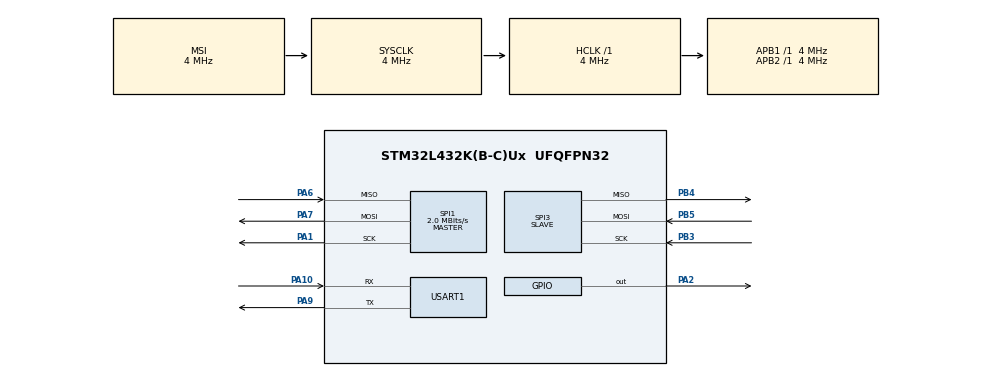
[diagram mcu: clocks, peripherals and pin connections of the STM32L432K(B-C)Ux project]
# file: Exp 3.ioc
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Mcu.Family=STM32L4
Mcu.Name=STM32L432K(B-C)Ux
Mcu.Package=UFQFPN32
NVIC.PriorityGroup=NVIC_PRIORITYGROUP_4
NVIC.SPI1_IRQn=true\:0\:0\:false\:false\:true\:true\:true
NVIC.SPI3_IRQn=true\:0\:0\:false\:false\:true\:true\:true
PA1.Mode=Full_Duplex_Master
PA1.Signal=SPI1_SCK
PA10.Mode=Asynchronous
PA10.Signal=USART1_RX
PA13\ (JTMS-SWDIO).Mode=Serial_Wire
PA13\ (JTMS-SWDIO).Signal=SYS_JTMS-SWDIO
PA14\ (JTCK-SWCLK).Mode=Serial_Wire
PA14\ (JTCK-SWCLK).Signal=SYS_JTCK-SWCLK
PA2.Signal=GPIO_Output
PA6.Mode=Full_Duplex_Master
PA6.Signal=SPI1_MISO
PA7.Mode=Full_Duplex_Master
PA7.Signal=SPI1_MOSI
PA9.Mode=Asynchronous
PA9.Signal=USART1_TX
PB3\ (JTDO-TRACESWO).Mode=Full_Duplex_Slave
PB3\ (JTDO-TRACESWO).Signal=SPI3_SCK
PB4\ (NJTRST).Mode=Full_Duplex_Slave
PB4\ (NJTRST).Signal=SPI3_MISO
PB5.Mode=Full_Duplex_Slave
PB5.Signal=SPI3_MOSI
PC14-OSC32_IN\ (PC14).Mode=LSE-External-Oscillator
PC14-OSC32_IN\ (PC14).Signal=RCC_OSC32_IN
PC15-OSC32_OUT\ (PC15).Mode=LSE-External-Oscillator
PC15-OSC32_OUT\ (PC15).Signal=RCC_OSC32_OUT
ProjectManager.HeapSize=0x200
ProjectManager.StackSize=0x400
ProjectManager.TargetToolchain=MDK-ARM V5
RCC.AHBFreq_Value=4000000
RCC.APB1Freq_Value=4000000
RCC.APB1TimFreq_Value=4000000
RCC.APB2Freq_Value=4000000
RCC.APB2TimFreq_Value=4000000
RCC.CortexFreq_Value=4000000
RCC.HCLKFreq_Value=4000000
RCC.HSE_VALUE=8000000
RCC.HSI48_VALUE=48000000
RCC.HSI_VALUE=16000000
RCC.MSIAutoCalibration=DISABLED
RCC.MSI_VALUE=4000000
RCC.SYSCLKFreq_VALUE=4000000
RCC.VCOOutputFreq_Value=32000000
SPI1.CalculateBaudRate=2.0 MBits/s
SPI1.DataSize=SPI_DATASIZE_8BIT
SPI1.Direction=SPI_DIRECTION_2LINES
SPI1.Mode=SPI_MODE_MASTER
SPI1.VirtualType=VM_MASTER
SPI3.DataSize=SPI_DATASIZE_8BIT
SPI3.Direction=SPI_DIRECTION_2LINES
SPI3.Mode=SPI_MODE_SLAVE
SPI3.VirtualType=VM_SLAVE
USART1.VirtualMode-Asynchronous=VM_ASYNC
board=custom

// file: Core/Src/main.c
/* USER CODE BEGIN Header */
/**
  ******************************************************************************
  * @file           : main.c
  * @brief          : Main program body
  ******************************************************************************
  * @attention
  *
  * <h2><center>&copy; Copyright (c) 2021 STMicroelectronics.
  * All rights reserved.</center></h2>
  *
  * This software component is licensed by ST under BSD 3-Clause license,
  * the "License"; You may not use this file except in compliance with the
  * License. You may obtain a copy of the License at:
  *                        opensource.org/licenses/BSD-3-Clause
  *
  ******************************************************************************
  */
/* USER CODE END Header */
#include "main.h"

SPI_HandleTypeDef hspi1;
SPI_HandleTypeDef hspi3;

UART_HandleTypeDef huart1;

void SystemClock_Config(void);
static void MX_GPIO_Init(void);
static void MX_SPI1_Init(void);
static void MX_SPI3_Init(void);
static void MX_USART1_UART_Init(void);

int main(void)
{

  /* MCU Configuration--------------------------------------------------------*/

  /* Reset of all peripherals, Initializes the Flash interface and the Systick. */
  HAL_Init();

  /* Configure the system clock */
  SystemClock_Config();

  /* Initialize all configured peripherals */
  MX_GPIO_Init();
  MX_SPI1_Init();
  MX_SPI3_Init();
  MX_USART1_UART_Init();
  /* USER CODE BEGIN 2 */
 uint8_t txdata = 0, rxdata;
uint8_t yes_message [4], no_message[3];
	char yes[] = "yes";
	char no[] = "no";
	yes_message[0]='y';
	yes_message[1]='e';
	yes_message[2]='s';
	yes_message[3]=0;

	no_message[0]='n';
	no_message[1]='0';
	no_message[2]=0;
	char y = 'y';

 while (1)
 {
 HAL_SPI_Transmit(&hspi1, &txdata, 1, 100);
 HAL_SPI_Receive(&hspi3, &rxdata, 1, 100);
 if (txdata == rxdata)
 {
	 HAL_Delay(1000);
	 HAL_UART_Transmit(&huart1,yes_message, 4, HAL_MAX_DELAY);
	for (int i = 1; i<=6;i++) // indicator of ready device
 {
 HAL_GPIO_TogglePin(GPIOA, GPIO_PIN_2);
 HAL_Delay(250);
 }
// indicate success by blinking a LED 3 times or sending “Yes” to UART
 }
 else
 {
	 	 HAL_UART_Transmit(&huart1, no_message, sizeof(no_message), HAL_MAX_DELAY);

// indicate failure by turning the LED off or sending “No” to UART
 }
 HAL_Delay (500);
 txdata +=10;
 }
  /* USER CODE END 2 */

  /* Infinite loop */
  while (1)
  {

  }
}

void SystemClock_Config(void)
{
  RCC_OscInitTypeDef RCC_OscInitStruct = {0};
  RCC_ClkInitTypeDef RCC_ClkInitStruct = {0};
  RCC_PeriphCLKInitTypeDef PeriphClkInit = {0};

  /** Initializes the RCC Oscillators according to the specified parameters
  * in the RCC_OscInitTypeDef structure.
  */
  RCC_OscInitStruct.OscillatorType = RCC_OSCILLATORTYPE_MSI;
  RCC_OscInitStruct.MSIState = RCC_MSI_ON;
  RCC_OscInitStruct.MSICalibrationValue = 0;
  RCC_OscInitStruct.MSIClockRange = RCC_MSIRANGE_6;
  RCC_OscInitStruct.PLL.PLLState = RCC_PLL_NONE;
  if (HAL_RCC_OscConfig(&RCC_OscInitStruct) != HAL_OK)
  {
    Error_Handler();
  }
  /** Initializes the CPU, AHB and APB buses clocks
  */
  RCC_ClkInitStruct.ClockType = RCC_CLOCKTYPE_HCLK|RCC_CLOCKTYPE_SYSCLK
                              |RCC_CLOCKTYPE_PCLK1|RCC_CLOCKTYPE_PCLK2;
  RCC_ClkInitStruct.SYSCLKSource = RCC_SYSCLKSOURCE_MSI;
  RCC_ClkInitStruct.AHBCLKDivider = RCC_SYSCLK_DIV1;
  RCC_ClkInitStruct.APB1CLKDivider = RCC_HCLK_DIV1;
  RCC_ClkInitStruct.APB2CLKDivider = RCC_HCLK_DIV1;

  if (HAL_RCC_ClockConfig(&RCC_ClkInitStruct, FLASH_LATENCY_0) != HAL_OK)
  {
    Error_Handler();
  }
  PeriphClkInit.PeriphClockSelection = RCC_PERIPHCLK_USART1;
  PeriphClkInit.Usart1ClockSelection = RCC_USART1CLKSOURCE_PCLK2;
  if (HAL_RCCEx_PeriphCLKConfig(&PeriphClkInit) != HAL_OK)
  {
    Error_Handler();
  }
  /** Configure the main internal regulator output voltage
  */
  if (HAL_PWREx_ControlVoltageScaling(PWR_REGULATOR_VOLTAGE_SCALE1) != HAL_OK)
  {
    Error_Handler();
  }
}

static void MX_SPI1_Init(void)
{

  /* SPI1 parameter configuration*/
  hspi1.Instance = SPI1;
  hspi1.Init.Mode = SPI_MODE_MASTER;
  hspi1.Init.Direction = SPI_DIRECTION_2LINES;
  hspi1.Init.DataSize = SPI_DATASIZE_8BIT;
  hspi1.Init.CLKPolarity = SPI_POLARITY_LOW;
  hspi1.Init.CLKPhase = SPI_PHASE_1EDGE;
  hspi1.Init.NSS = SPI_NSS_SOFT;
  hspi1.Init.BaudRatePrescaler = SPI_BAUDRATEPRESCALER_2;
  hspi1.Init.FirstBit = SPI_FIRSTBIT_MSB;
  hspi1.Init.TIMode = SPI_TIMODE_DISABLE;
  hspi1.Init.CRCCalculation = SPI_CRCCALCULATION_DISABLE;
  hspi1.Init.CRCPolynomial = 7;
  hspi1.Init.CRCLength = SPI_CRC_LENGTH_DATASIZE;
  hspi1.Init.NSSPMode = SPI_NSS_PULSE_ENABLE;
  if (HAL_SPI_Init(&hspi1) != HAL_OK)
  {
    Error_Handler();
  }

}

static void MX_SPI3_Init(void)
{

  /* SPI3 parameter configuration*/
  hspi3.Instance = SPI3;
  hspi3.Init.Mode = SPI_MODE_SLAVE;
  hspi3.Init.Direction = SPI_DIRECTION_2LINES;
  hspi3.Init.DataSize = SPI_DATASIZE_8BIT;
  hspi3.Init.CLKPolarity = SPI_POLARITY_LOW;
  hspi3.Init.CLKPhase = SPI_PHASE_1EDGE;
  hspi3.Init.NSS = SPI_NSS_SOFT;
  hspi3.Init.FirstBit = SPI_FIRSTBIT_MSB;
  hspi3.Init.TIMode = SPI_TIMODE_DISABLE;
  hspi3.Init.CRCCalculation = SPI_CRCCALCULATION_DISABLE;
  hspi3.Init.CRCPolynomial = 7;
  hspi3.Init.CRCLength = SPI_CRC_LENGTH_DATASIZE;
  hspi3.Init.NSSPMode = SPI_NSS_PULSE_DISABLE;
  if (HAL_SPI_Init(&hspi3) != HAL_OK)
  {
    Error_Handler();
  }

}

static void MX_USART1_UART_Init(void)
{

  huart1.Instance = USART1;
  huart1.Init.BaudRate = 115200;
  huart1.Init.WordLength = UART_WORDLENGTH_8B;
  huart1.Init.StopBits = UART_STOPBITS_1;
  huart1.Init.Parity = UART_PARITY_NONE;
  huart1.Init.Mode = UART_MODE_TX_RX;
  huart1.Init.HwFlowCtl = UART_HWCONTROL_NONE;
  huart1.Init.OverSampling = UART_OVERSAMPLING_16;
  huart1.Init.OneBitSampling = UART_ONE_BIT_SAMPLE_DISABLE;
  huart1.AdvancedInit.AdvFeatureInit = UART_ADVFEATURE_NO_INIT;
  if (HAL_UART_Init(&huart1) != HAL_OK)
  {
    Error_Handler();
  }

}

static void MX_GPIO_Init(void)
{
  GPIO_InitTypeDef GPIO_InitStruct = {0};

  /* GPIO Ports Clock Enable */
  __HAL_RCC_GPIOC_CLK_ENABLE();
  __HAL_RCC_GPIOA_CLK_ENABLE();
  __HAL_RCC_GPIOB_CLK_ENABLE();

  /*Configure GPIO pin Output Level */
  HAL_GPIO_WritePin(GPIOA, GPIO_PIN_2, GPIO_PIN_RESET);

  /*Configure GPIO pin : PA2 */
  GPIO_InitStruct.Pin = GPIO_PIN_2;
  GPIO_InitStruct.Mode = GPIO_MODE_OUTPUT_PP;
  GPIO_InitStruct.Pull = GPIO_NOPULL;
  GPIO_InitStruct.Speed = GPIO_SPEED_FREQ_LOW;
  HAL_GPIO_Init(GPIOA, &GPIO_InitStruct);

}

void Error_Handler(void)
{
  __disable_irq();
  while (1)
  {
  }
}

/************************ (C) COPYRIGHT STMicroelectronics *****END OF FILE****/
